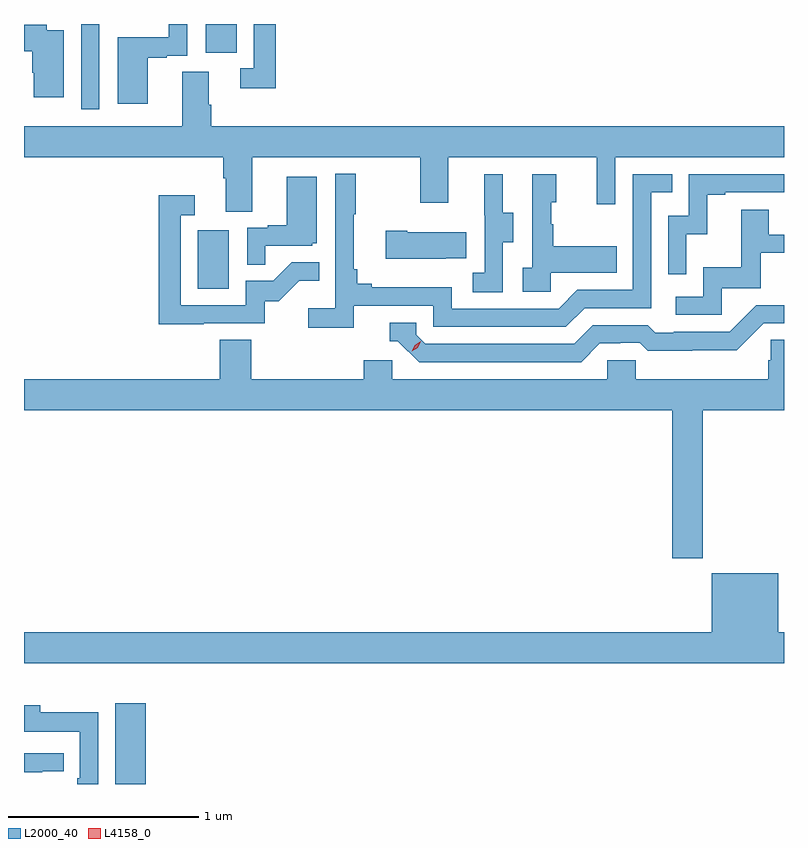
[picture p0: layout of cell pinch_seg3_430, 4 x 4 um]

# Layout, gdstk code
import gdstk
lib = gdstk.Library(unit=1e-6, precision=1e-09)
def R(c, l, rs):  # rectangles x0, y0, x1, y1
    for r in rs: c.add(gdstk.rectangle(r[:2], r[2:], *l))
def P(c, l, *ps):  # polygons
    for p in ps: c.add(gdstk.Polygon(p, *l))
L2000_40 = (2000, 40)
L4158_0 = (4158, 0)

pinch_seg3_430 = lib.new_cell('pinch_seg3_430')
R(pinch_seg3_430, L2000_40, [(891.491,701.613,891.652,702.037), (891.926,704.22,892.09,704.527), (891.312,705.165,891.408,705.613), (891.968,705.462,892.132,705.613)])
P(pinch_seg3_430, L2000_40, [(891.664,705.435),(891.764,705.435),(891.764,705.447),(891.87,705.447),(891.87,705.613),(891.775,705.613),(891.775,705.543),(891.506,705.543),(891.506,705.192),(891.664,705.192)],
  [(892.337,705.613),(892.221,705.613),(892.221,705.381),(892.149,705.381),(892.149,705.276),(892.337,705.276)],
  [(891.22,705.58),(891.133,705.58),(891.133,705.61),(891.012,705.61),(891.012,705.47),(891.055,705.47),(891.055,705.357),(891.062,705.357),(891.062,705.228),(891.22,705.228)],
  [(892.213,704.912),(893.098,704.912),(893.098,704.673),(893.245,704.673),(893.245,704.912),(894.026,704.912),(894.026,704.664),(894.123,704.664),(894.123,704.912),(895.012,704.912),(895.012,705.076),(891.998,705.076),(891.998,705.188),(891.985,705.188),(891.985,705.362),(891.845,705.362),(891.845,705.076),(891.012,705.076),(891.012,704.912),(892.061,704.912),(892.061,704.8),(892.073,704.8),(892.073,704.626),(892.213,704.626)],
  [(892.748,704.13),(893.166,704.13),(893.166,704.019),(893.863,704.019),(893.962,704.118),(894.312,704.118),(894.312,704.727),(894.425,704.727),(894.425,704.823),(894.216,704.823),(894.216,704.214),(893.925,704.214),(893.826,704.115),(893.262,704.115),(893.262,704.227),(892.843,704.227),(892.843,704.246),(892.766,704.246),(892.766,704.323),(892.747,704.323),(892.747,704.611),(892.759,704.611),(892.759,704.824),(892.65,704.824),(892.65,704.116),(892.509,704.116),(892.509,704.014),(892.748,704.014)],
  [(894.498,704.507),(894.608,704.507),(894.608,704.715),(894.703,704.715),(894.703,704.727),(895.012,704.727),(895.012,704.823),(894.51,704.823),(894.51,704.604),(894.402,704.604),(894.402,704.295),(894.498,704.295)],
  [(893.532,704.464),(893.587,704.464),(893.587,704.619),(893.533,704.619),(893.533,704.821),(893.435,704.821),(893.435,704.607),(893.436,704.607),(893.436,704.303),(893.373,704.303),(893.373,704.2),(893.532,704.2)],
  [(893.784,704.303),(894.131,704.303),(894.131,704.443),(893.797,704.443),(893.797,704.558),(893.787,704.558),(893.787,704.676),(893.812,704.676),(893.812,704.821),(893.688,704.821),(893.688,704.33),(893.637,704.33),(893.637,704.205),(893.784,704.205)],
  [(892.283,704.445),(892.53,704.445),(892.53,704.46),(892.552,704.46),(892.552,704.809),(892.394,704.809),(892.394,704.554),(892.295,704.554),(892.295,704.541),(892.188,704.541),(892.188,704.347),(892.283,704.347)],
  [(891.959,704.037),(892.278,704.037),(892.278,704.154),(892.354,704.154),(892.461,704.261),(892.565,704.261),(892.565,704.36),(892.421,704.36),(892.323,704.262),(892.179,704.262),(892.179,704.133),(891.837,704.133),(891.837,704.607),(891.91,704.607),(891.91,704.713),(891.721,704.713),(891.721,704.032),(891.959,704.032)],
  [(894.684,704.223),(894.889,704.223),(894.889,704.409),(895.012,704.409),(895.012,704.505),(894.931,704.505),(894.931,704.635),(894.787,704.635),(894.787,704.332),(894.588,704.332),(894.588,704.178),(894.441,704.178),(894.441,704.082),(894.684,704.082)],
  [(893.231,704.381),(893.339,704.381),(893.339,704.518),(893.029,704.518),(893.029,704.526),(892.917,704.526),(892.917,704.378),(893.231,704.378)],
  [(894.043,703.932),(894.15,703.932),(894.15,703.935),(894.253,703.935),(894.295,703.893),(894.528,703.893),(894.528,703.895),(894.764,703.895),(894.906,704.037),(895.012,704.037),(895.012,704.133),(894.867,704.133),(894.726,703.992),(894.433,703.992),(894.433,703.989),(894.334,703.989),(894.295,704.028),(894.006,704.028),(893.907,703.929),(893.124,703.929),(893.076,703.977),(893.076,704.04),(892.937,704.04),(892.937,703.944),(892.98,703.944),(893.091,703.833),(893.944,703.833)],
  [(894.585,703.58),(895.012,703.58),(895.012,703.952),(894.943,703.952),(894.943,703.842),(894.929,703.842),(894.929,703.744),(894.231,703.744),(894.231,703.842),(894.081,703.842),(894.081,703.744),(892.95,703.744),(892.95,703.842),(892.799,703.842),(892.799,703.744),(892.208,703.744),(892.208,703.952),(892.043,703.952),(892.043,703.744),(891.012,703.744),(891.012,703.58),(894.425,703.58),(894.425,702.801),(894.585,702.801)],
  [(895.012,702.412),(894.982,702.412),(894.982,702.721),(894.632,702.721),(894.632,702.412),(891.012,702.412),(891.012,702.248),(895.012,702.248)],
  [(891.402,701.99),(891.097,701.99),(891.097,702.028),(891.012,702.028),(891.012,701.889),(891.306,701.889),(891.306,701.644),(891.293,701.644),(891.293,701.613),(891.402,701.613)],
  [(891.107,701.679),(891.22,701.679),(891.22,701.775),(891.012,701.775),(891.012,701.674),(891.107,701.674)])
P(pinch_seg3_430, L4158_0, [(893.054,703.89),(893.054,703.891),(893.069,703.923),(893.099,703.943),(893.1,703.943),(893.1,703.943),(893.084,703.91),(893.054,703.89)])

lib.write_gds('pinch_seg3_430.gds')
